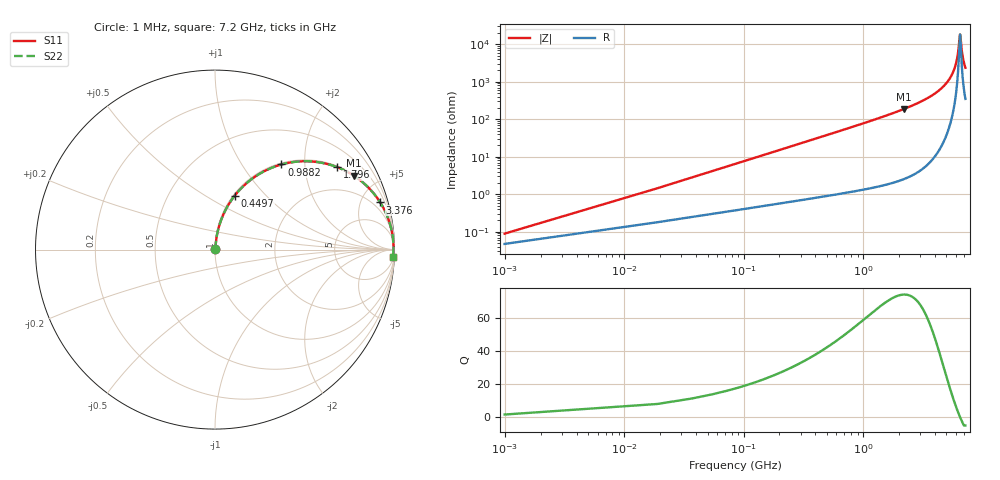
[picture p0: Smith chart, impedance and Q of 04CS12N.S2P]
! Coilcraft 0402CS-12N Chip Inductor
! 29 May 2002
# MHZ S MA R 50
!Freq  MagS11  AngS11  MagS21  AngS21  MagS12  AngS12  MagS22  AngS22
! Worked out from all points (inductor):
!   403 points, 1 MHz to 7.2 GHz, reference 50 ohm
!   read as one part in series: L = 12 nH near 36.9 MHz
!   highest Q = 74.1 at 2.191 GHz (marker M1), where L = 13.5 nH
!   self-resonance near 6.481 GHz
!   S11 on the Smith chart (normalised r, x): 1 MHz: 1.00, +0.00; 449.8 MHz: 1.02, +0.68; 988.2 MHz: 1.03, +1.53; 1.796 GHz: 1.04, +2.93; 3.376 GHz: 1.11, +6.97; 7.2 GHz: 8, -47
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1  0.0008896 57.9  0.9995 -0.0  0.9995 -0.0  0.0008896 57.9
54.85  0.04131 83.5  0.9962 -2.4  0.9962 -2.4  0.04131 83.5
72.8  0.05473 83.3  0.9951 -3.1  0.9951 -3.1  0.05473 83.3
108.7  0.08147 82.4  0.9925 -4.7  0.9925 -4.7  0.08147 82.4
234.35  0.1733 78.0  0.9789 -10.0  0.9789 -10.0  0.1733 78.0
449.75  0.3202 69.9  0.9394 -18.7  0.9394 -18.7  0.3202 69.9
683.1  0.4582 61.6  0.8796 -27.3  0.8796 -27.3  0.4582 61.6
988.25  0.6016 52.0  0.7886 -37.0  0.7886 -37.0  0.6016 52.0
1203.65  0.6795 46.3  0.723 -42.8  0.723 -42.8  0.6795 46.3
1796  0.8209 34.0  0.5598 -55.2  0.5598 -55.2  0.8209 34.0
2190.9  0.8763 28.0  0.4701 -61.2  0.4701 -61.2  0.8763 28.0
2406.3  0.8984 25.3  0.4272 -63.9  0.4272 -63.9  0.8984 25.3
3375.6  0.9571 15.9  0.2746 -73.1  0.2746 -73.1  0.9571 15.9
3608.95  0.9651 14.2  0.2453 -74.8  0.2453 -74.8  0.9651 14.2
4811.6  0.9881 7.1  0.1231 -80.9  0.1231 -80.9  0.9881 7.1
5529.6  0.9932 3.8  0.06589 -82.2  0.06589 -82.2  0.9932 3.8
6014.25  0.9945 1.8  0.03186 -79.1  0.03186 -79.1  0.9945 1.8
6229.65  0.9946 1.0  0.01794 -72.1  0.01794 -72.1  0.9946 1.0
6445.05  0.9946 0.2  0.006366 -31.7  0.006366 -31.7  0.9946 0.2
6498.9  0.9945 -0.0  0.005456 0.1  0.005456 0.1  0.9945 -0.0
6822  0.994 -1.1  0.02053 72.5  0.02053 72.5  0.994 -1.1
7200  0.9929 -2.4  0.04204 79.1  0.04204 79.1  0.9929 -2.4
